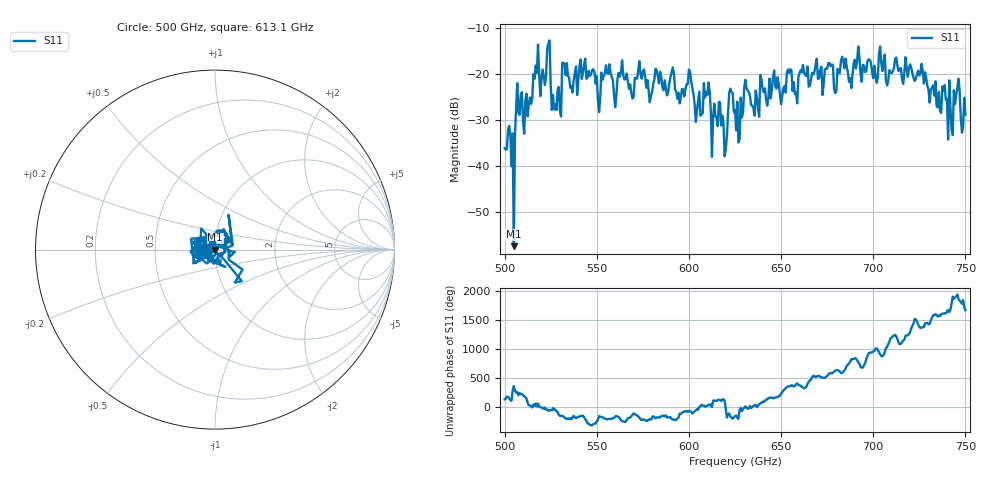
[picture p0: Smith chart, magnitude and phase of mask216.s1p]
!Created with skrf (http://scikit-rf.org).
# GHz S MA R 50.0
!freq magS11 angS11
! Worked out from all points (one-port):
!   401 points, 500 GHz to 750 GHz, reference 50 ohm
!   lowest |S11| = -57.5 dB at 505 GHz (marker M1), VSWR 1.00, Z = 50.1 + j0.0193 ohm
!   |S11| at or under -10 dB: start of sweep to end of sweep
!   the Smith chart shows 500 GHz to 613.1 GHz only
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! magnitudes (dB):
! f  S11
! 500 GHz  -36.2
! 505 GHz  -57.5
! 507.5 GHz  -28.5
! 513.8 GHz  -25.1
! 516.9 GHz  -18.2
! 520.6 GHz  -19.0
! 523.8 GHz  -13.4
! 526.9 GHz  -27.7
! 531.2 GHz  -17.6
! 542.5 GHz  -19.8
! 550.6 GHz  -25.6
! 556.2 GHz  -20.0
! 560 GHz  -27.2
! 562.5 GHz  -20.7
! 568.8 GHz  -24.1
! 590.6 GHz  -19.7
! 593.8 GHz  -25.4
! 609.4 GHz  -24.0
! 619.4 GHz  -37.9
! 622.5 GHz  -23.2
! 625 GHz  -27.8
! 656.2 GHz  -23.7
! 680 GHz  -23.8
! 683.8 GHz  -17.2
! 687.5 GHz  -21.0
! 691.2 GHz  -17.2
! 718.8 GHz  -20.6
! 750 GHz  -28.9
